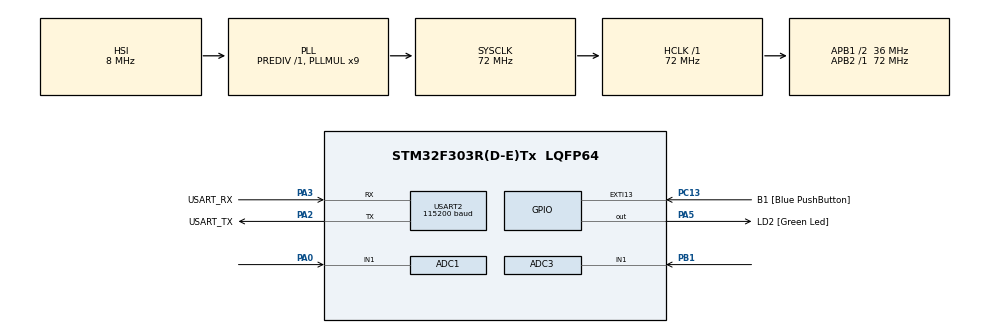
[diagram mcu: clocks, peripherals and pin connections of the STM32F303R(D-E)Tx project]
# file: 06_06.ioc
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ADC1.Channel-4\#ChannelRegularConversion=ADC_CHANNEL_1
ADC1.ClockPrescaler=ADC_CLOCK_SYNC_PCLK_DIV1
ADC1.ContinuousConvMode=ENABLE
ADC1.DMAContinuousRequests=ENABLE
ADC1.NbrOfConversionFlag=1
ADC1.Offset-4\#ChannelRegularConversion=0
ADC1.OffsetNumber-4\#ChannelRegularConversion=ADC_OFFSET_NONE
ADC1.Rank-4\#ChannelRegularConversion=1
ADC1.SamplingTime-4\#ChannelRegularConversion=ADC_SAMPLETIME_1CYCLE_5
ADC1.SamplingTimeOPAMP-4\#ChannelRegularConversion=ADC_SAMPLETIME_19CYCLES_5
ADC1.master=1
ADC3.Channel-1\#ChannelRegularConversion=ADC_CHANNEL_1
ADC3.NbrOfConversionFlag=1
ADC3.Offset-1\#ChannelRegularConversion=0
ADC3.OffsetNumber-1\#ChannelRegularConversion=ADC_OFFSET_NONE
ADC3.Rank-1\#ChannelRegularConversion=1
ADC3.SamplingTime-1\#ChannelRegularConversion=ADC_SAMPLETIME_1CYCLE_5
ADC3.SamplingTimeOPAMP-1\#ChannelRegularConversion=ADC_SAMPLETIME_61CYCLES_5
ADC3.master=1
Dma.ADC1.2.Direction=DMA_PERIPH_TO_MEMORY
Dma.ADC1.2.Instance=DMA1_Channel1
Dma.ADC1.2.MemDataAlignment=DMA_MDATAALIGN_HALFWORD
Dma.ADC1.2.MemInc=DMA_MINC_ENABLE
Dma.ADC1.2.Mode=DMA_NORMAL
Dma.ADC1.2.PeriphDataAlignment=DMA_PDATAALIGN_HALFWORD
Dma.ADC1.2.PeriphInc=DMA_PINC_DISABLE
Dma.ADC1.2.Priority=DMA_PRIORITY_LOW
Dma.Request0=USART2_TX
Dma.Request1=USART2_RX
Dma.Request2=ADC1
Dma.USART2_RX.1.Direction=DMA_PERIPH_TO_MEMORY
Dma.USART2_RX.1.Instance=DMA1_Channel6
Dma.USART2_RX.1.MemDataAlignment=DMA_MDATAALIGN_BYTE
Dma.USART2_RX.1.MemInc=DMA_MINC_ENABLE
Dma.USART2_RX.1.Mode=DMA_CIRCULAR
Dma.USART2_RX.1.PeriphDataAlignment=DMA_PDATAALIGN_BYTE
Dma.USART2_RX.1.PeriphInc=DMA_PINC_DISABLE
Dma.USART2_RX.1.Priority=DMA_PRIORITY_LOW
Dma.USART2_TX.0.Direction=DMA_MEMORY_TO_PERIPH
Dma.USART2_TX.0.Instance=DMA1_Channel7
Dma.USART2_TX.0.MemDataAlignment=DMA_MDATAALIGN_BYTE
Dma.USART2_TX.0.MemInc=DMA_MINC_ENABLE
Dma.USART2_TX.0.Mode=DMA_NORMAL
Dma.USART2_TX.0.PeriphDataAlignment=DMA_PDATAALIGN_BYTE
Dma.USART2_TX.0.PeriphInc=DMA_PINC_DISABLE
Dma.USART2_TX.0.Priority=DMA_PRIORITY_LOW
Mcu.Family=STM32F3
Mcu.Name=STM32F303R(D-E)Tx
Mcu.Package=LQFP64
NVIC.DMA1_Channel6_IRQn=true\:0\:0\:false\:false\:true\:false\:true\:true
NVIC.DMA1_Channel7_IRQn=true\:0\:0\:false\:false\:true\:false\:true\:true
NVIC.EXTI15_10_IRQn=true\:8\:0\:true\:false\:true\:true\:true\:true
NVIC.PriorityGroup=NVIC_PRIORITYGROUP_4
NVIC.USART2_IRQn=true\:12\:0\:true\:false\:true\:true\:true\:true
PA0.Mode=IN1-Single-Ended
PA0.Signal=ADC1_IN1
PA13.GPIO_Label=TMS
PA13.Mode=Serial_Wire
PA13.Signal=SYS_JTMS-SWDIO
PA14.GPIO_Label=TCK
PA14.Mode=Serial_Wire
PA14.Signal=SYS_JTCK-SWCLK
PA2.GPIO_Label=USART_TX
PA2.GPIO_Mode=GPIO_MODE_AF_PP
PA2.GPIO_PuPd=GPIO_NOPULL
PA2.GPIO_Speed=GPIO_SPEED_FREQ_LOW
PA2.Mode=Asynchronous
PA2.Signal=USART2_TX
PA3.GPIO_Label=USART_RX
PA3.GPIO_Mode=GPIO_MODE_AF_PP
PA3.GPIO_PuPd=GPIO_NOPULL
PA3.GPIO_Speed=GPIO_SPEED_FREQ_LOW
PA3.Mode=Asynchronous
PA3.Signal=USART2_RX
PA5.GPIO_Label=LD2 [Green Led]
PA5.GPIO_Mode=GPIO_MODE_OUTPUT_PP
PA5.GPIO_PuPd=GPIO_NOPULL
PA5.GPIO_Speed=GPIO_SPEED_FREQ_LOW
PA5.Signal=GPIO_Output
PB1.Mode=IN1-Single-Ended
PB1.Signal=ADC3_IN1
PB3.GPIO_Label=SWO
PB3.Signal=SYS_JTDO-TRACESWO
PC13.GPIO_Label=B1 [Blue PushButton]
PC13.GPIO_ModeDefaultEXTI=GPIO_MODE_IT_FALLING
PC13.Signal=GPXTI13
PC14-OSC32_IN.Mode=LSE-External-Oscillator
PC14-OSC32_IN.Signal=RCC_OSC32_IN
PC15-OSC32_OUT.Mode=LSE-External-Oscillator
PC15-OSC32_OUT.Signal=RCC_OSC32_OUT
PF0-OSC_IN.Mode=HSE-External-Clock-Source
PF0-OSC_IN.Signal=RCC_OSC_IN
PF1-OSC_OUT.Signal=RCC_OSC_OUT
ProjectManager.HeapSize=0x200
ProjectManager.StackSize=0x400
ProjectManager.TargetToolchain=STM32CubeIDE
RCC.ADC12PRES=RCC_ADC12PLLCLK_DIV2
RCC.AHBFreq_Value=72000000
RCC.APB1CLKDivider=RCC_HCLK_DIV2
RCC.APB1Freq_Value=36000000
RCC.APB1TimFreq_Value=72000000
RCC.APB2Freq_Value=72000000
RCC.APB2TimFreq_Value=72000000
RCC.CortexFreq_Value=72000000
RCC.HCLKFreq_Value=72000000
RCC.HSE_VALUE=8000000
RCC.HSI_VALUE=8000000
RCC.PLLM=8
RCC.PLLMUL=RCC_PLL_MUL9
RCC.PLLN=336
RCC.PLLP=RCC_PLLP_DIV4
RCC.PLLQ=7
RCC.RCC_PLLsource_Clock_Source_FROM_HSE=RCC_HSE_PREDIV_DIV2
RCC.SYSCLKFreq_VALUE=72000000
RCC.SYSCLKSourceVirtual=RCC_SYSCLKSOURCE_PLLCLK
RCC.USBFreq_Value=72000000
USART2.BaudRate=115200
USART2.VirtualMode-Asynchronous=VM_ASYNC
board=NUCLEO-F303RE

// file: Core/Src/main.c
/* USER CODE BEGIN Header */
/**
  ******************************************************************************
  * @file           : main.c
  * @brief          : Main program body
  ******************************************************************************
  * @attention
  *
  * Copyright (c) 2022 STMicroelectronics.
  * All rights reserved.
  *
  * This software is licensed under terms that can be found in the LICENSE file
  * in the root directory of this software component.
  * If no LICENSE file comes with this software, it is provided AS-IS.
  *
  ******************************************************************************
  */
/* USER CODE END Header */
#include "main.h"
#include "adc.h"
#include "dma.h"
#include "usart.h"
#include "gpio.h"

/* USER CODE BEGIN Includes */
#include <stdio.h>
#include <string.h>
/* USER CODE END Includes */

void SystemClock_Config(void);

/* USER CODE BEGIN 0 */
int __io_putchar(int ch)
{
  if (ch == '\n') {
    __io_putchar('\r');
  }

  HAL_UART_Transmit(&huart2, (uint8_t*)&ch, 1, HAL_MAX_DELAY);

  return 1;
}

//void HAL_UART_TxHalfCpltCallback(UART_HandleTypeDef *huart);
//void HAL_UART_TxCpltCallback(UART_HandleTypeDef *huart);

//void	HAL_GPIO_EXTI_Callback(uint16_t GPIO_Pin);

uint8_t data[20];
uint8_t Rx_data[10];
uint8_t HalfTransmit[] = "halfTransmit";

void HAL_UART_TxHalfCpltCallback(UART_HandleTypeDef *huart)
{
	  for(int i=0; i<10; i++){
		  data[i]='a';
	  }

}
void HAL_UART_TxCpltCallback(UART_HandleTypeDef *huart){
	  for(int i=10;i<20;i++){
		  data[i]='b';
	  }
}

void HAL_UART_RxHalfCpltCallback(UART_HandleTypeDef *huart){
		//HAL_UART_Transmit_DMA(&huart2, HalfTransmit, sizeof(HalfTransmit));

}
void HAL_UART_RxCpltCallback(UART_HandleTypeDef *huart){
	 HAL_UART_Receive_DMA(&huart2, Rx_data, 10);
}

/* USER CODE END 0 */

int main(void)
{

  /* MCU Configuration--------------------------------------------------------*/

  /* Reset of all peripherals, Initializes the Flash interface and the Systick. */
  HAL_Init();

  /* Configure the system clock */
  SystemClock_Config();

  /* Initialize all configured peripherals */
  MX_GPIO_Init();
  MX_DMA_Init();
  MX_USART2_UART_Init();
  MX_ADC1_Init();
  MX_ADC3_Init();

  /* Infinite loop */
  /* USER CODE BEGIN WHILE */
 /* for (int i=0; i<2000; i++)
   {
     data[i] = 'x';
   }*/
  volatile static uint16_t value[2];

	HAL_UART_Receive_DMA(&huart2, Rx_data, 10);

	HAL_ADC_Start_DMA(&hadc1, (uint32_t*)value, 2);
  while (1)
  {

	 //HAL_GPIO_TogglePin(LD2_GPIO_Port, LD2_Pin);
	 //HAL_Delay(250);
	  HAL_UART_Transmit_DMA(&huart2, value, 2);

	  HAL_Delay(250);

    /* USER CODE END WHILE */

  }
}

void SystemClock_Config(void)
{
  RCC_OscInitTypeDef RCC_OscInitStruct = {0};
  RCC_ClkInitTypeDef RCC_ClkInitStruct = {0};
  RCC_PeriphCLKInitTypeDef PeriphClkInit = {0};

  /** Initializes the RCC Oscillators according to the specified parameters
  * in the RCC_OscInitTypeDef structure.
  */
  RCC_OscInitStruct.OscillatorType = RCC_OSCILLATORTYPE_HSI;
  RCC_OscInitStruct.HSIState = RCC_HSI_ON;
  RCC_OscInitStruct.HSICalibrationValue = RCC_HSICALIBRATION_DEFAULT;
  RCC_OscInitStruct.PLL.PLLState = RCC_PLL_ON;
  RCC_OscInitStruct.PLL.PLLSource = RCC_PLLSOURCE_HSI;
  RCC_OscInitStruct.PLL.PLLMUL = RCC_PLL_MUL9;
  RCC_OscInitStruct.PLL.PREDIV = RCC_PREDIV_DIV1;
  if (HAL_RCC_OscConfig(&RCC_OscInitStruct) != HAL_OK)
  {
    Error_Handler();
  }

  /** Initializes the CPU, AHB and APB buses clocks
  */
  RCC_ClkInitStruct.ClockType = RCC_CLOCKTYPE_HCLK|RCC_CLOCKTYPE_SYSCLK
                              |RCC_CLOCKTYPE_PCLK1|RCC_CLOCKTYPE_PCLK2;
  RCC_ClkInitStruct.SYSCLKSource = RCC_SYSCLKSOURCE_PLLCLK;
  RCC_ClkInitStruct.AHBCLKDivider = RCC_SYSCLK_DIV1;
  RCC_ClkInitStruct.APB1CLKDivider = RCC_HCLK_DIV2;
  RCC_ClkInitStruct.APB2CLKDivider = RCC_HCLK_DIV1;

  if (HAL_RCC_ClockConfig(&RCC_ClkInitStruct, FLASH_LATENCY_2) != HAL_OK)
  {
    Error_Handler();
  }
  PeriphClkInit.PeriphClockSelection = RCC_PERIPHCLK_USART2|RCC_PERIPHCLK_ADC34;
  PeriphClkInit.Usart2ClockSelection = RCC_USART2CLKSOURCE_PCLK1;
  PeriphClkInit.Adc34ClockSelection = RCC_ADC34PLLCLK_DIV1;
  if (HAL_RCCEx_PeriphCLKConfig(&PeriphClkInit) != HAL_OK)
  {
    Error_Handler();
  }
}

/* USER CODE BEGIN 4 */
void	HAL_GPIO_EXTI_Callback(uint16_t GPIO_Pin){
	if(GPIO_Pin == B1_Pin){
	 	HAL_UART_Transmit_DMA(&huart2, data, sizeof(data));
		//HAL_UART_Transmit_DMA(&huart2, value, sizeof(value));
	}
}
/* USER CODE END 4 */

void Error_Handler(void)
{
  __disable_irq();
  while (1)
  {
  }
}
